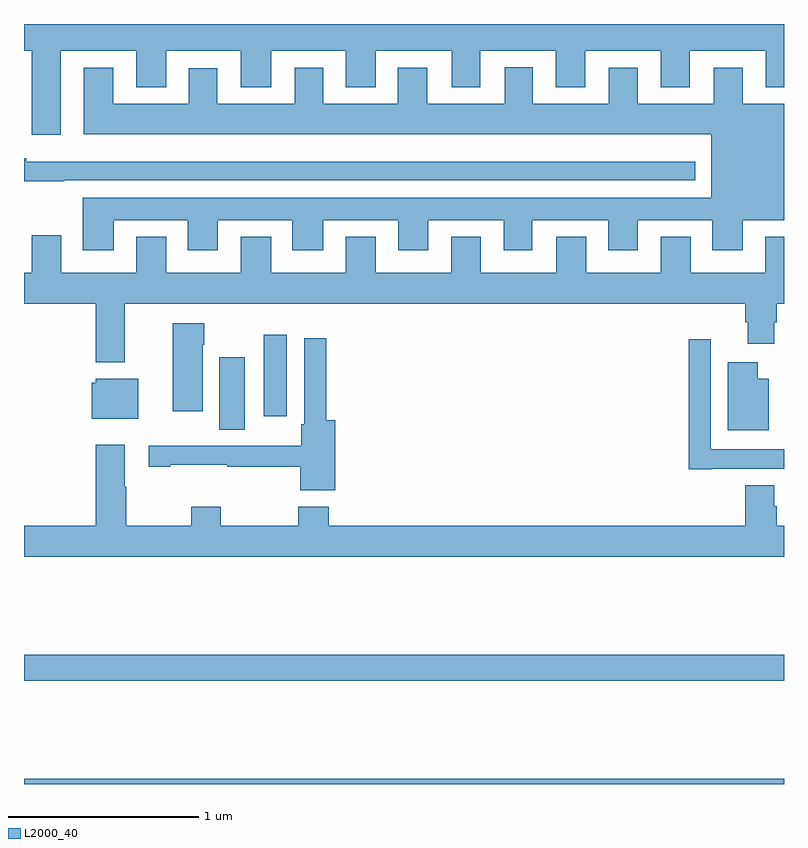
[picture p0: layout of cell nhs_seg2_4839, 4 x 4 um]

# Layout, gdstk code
import gdstk
lib = gdstk.Library(unit=1e-6, precision=1e-09)
def R(c, l, rs):  # rectangles x0, y0, x1, y1
    for r in rs: c.add(gdstk.rectangle(r[:2], r[2:], *l))
def P(c, l, *ps):  # polygons
    for p in ps: c.add(gdstk.Polygon(p, *l))
L2000_40 = (2000, 40)

nhs_seg2_4839 = lib.new_cell('nhs_seg2_4839')
R(nhs_seg2_4839, L2000_40, [(375,619.8,379,619.828), (375,620.344,379,620.48), (376.028,621.664,376.162,622.045), (376.262,621.735,376.384,622.165)])
P(nhs_seg2_4839, L2000_40, [(375.193,623.66),(375.59,623.66),(375.59,623.466),(375.748,623.466),(375.748,623.66),(376.142,623.66),(376.142,623.466),(376.3,623.466),(376.3,623.66),(376.694,623.66),(376.694,623.466),(376.852,623.466),(376.852,623.66),(377.252,623.66),(377.252,623.466),(377.401,623.466),(377.401,623.66),(377.798,623.66),(377.798,623.466),(377.953,623.466),(377.953,623.66),(378.35,623.66),(378.35,623.466),(378.505,623.466),(378.505,623.66),(378.905,623.66),(378.905,623.466),(379,623.466),(379,623.8),(375,623.8),(375,623.66),(375.041,623.66),(375.041,623.217),(375.193,623.217)],
  [(375.472,622.766),(375.863,622.766),(375.863,622.608),(376.021,622.608),(376.021,622.766),(376.412,622.766),(376.412,622.608),(376.576,622.608),(376.576,622.766),(376.97,622.766),(376.97,622.608),(377.128,622.608),(377.128,622.766),(377.525,622.766),(377.525,622.608),(377.674,622.608),(377.674,622.766),(378.074,622.766),(378.074,622.608),(378.229,622.608),(378.229,622.766),(378.623,622.766),(378.623,622.608),(378.784,622.608),(378.784,622.766),(379,622.766),(379,623.38),(378.784,623.38),(378.784,623.569),(378.629,623.569),(378.629,623.38),(378.229,623.38),(378.229,623.569),(378.077,623.569),(378.077,623.38),(377.677,623.38),(377.677,623.572),(377.531,623.572),(377.531,623.38),(377.122,623.38),(377.122,623.569),(376.967,623.569),(376.967,623.38),(376.576,623.38),(376.576,623.569),(376.424,623.569),(376.424,623.38),(376.018,623.38),(376.018,623.566),(375.866,623.566),(375.866,623.38),(375.469,623.38),(375.469,623.569),(375.314,623.569),(375.314,623.219),(378.617,623.219),(378.617,622.885),(375.308,622.885),(375.308,622.608),(375.472,622.608)],
  [(375.212,622.977),(378.532,622.977),(378.532,623.074),(375.013,623.074),(375.013,623.093),(375,623.093),(375,622.972),(375.212,622.972)],
  [(375.529,622.328),(378.797,622.328),(378.797,622.23),(378.809,622.23),(378.809,622.116),(378.949,622.116),(378.949,622.23),(378.962,622.23),(378.962,622.328),(379,622.328),(379,622.681),(378.902,622.681),(378.902,622.492),(378.508,622.492),(378.508,622.681),(378.35,622.681),(378.35,622.492),(377.959,622.492),(377.959,622.681),(377.801,622.681),(377.801,622.492),(377.404,622.492),(377.404,622.681),(377.249,622.681),(377.249,622.492),(376.852,622.492),(376.852,622.681),(376.694,622.681),(376.694,622.492),(376.3,622.492),(376.3,622.681),(376.142,622.681),(376.142,622.492),(375.748,622.492),(375.748,622.681),(375.59,622.681),(375.59,622.492),(375.196,622.492),(375.196,622.687),(375.041,622.687),(375.041,622.492),(375,622.492),(375,622.328),(375.377,622.328),(375.377,622.019),(375.529,622.019)],
  [(375.94,622.112),(375.948,622.112),(375.948,622.225),(375.782,622.225),(375.782,621.762),(375.94,621.762)],
  [(376.637,621.715),(376.592,621.715),(376.592,622.147),(376.476,622.147),(376.476,621.693),(376.459,621.693),(376.459,621.58),(376.266,621.58),(376.266,621.579),(375.932,621.579),(375.932,621.581),(375.657,621.581),(375.657,621.471),(375.769,621.471),(375.769,621.481),(376.07,621.481),(376.07,621.471),(376.454,621.471),(376.454,621.345),(376.637,621.345)],
  [(378.622,621.458),(379,621.458),(379,621.562),(378.615,621.562),(378.615,622.141),(378.499,622.141),(378.499,621.456),(378.622,621.456)],
  [(378.919,621.934),(378.862,621.934),(378.862,622.021),(378.704,622.021),(378.704,621.662),(378.919,621.662)],
  [(375.601,621.934),(375.378,621.934),(375.378,621.912),(375.356,621.912),(375.356,621.722),(375.601,621.722)],
  [(375.377,621.586),(375.377,621.16),(375,621.16),(375,620.996),(379,620.996),(379,621.16),(378.962,621.16),(378.962,621.261),(378.949,621.261),(378.949,621.373),(378.797,621.373),(378.797,621.16),(376.604,621.16),(376.604,621.259),(376.444,621.259),(376.444,621.16),(376.035,621.16),(376.035,621.259),(375.88,621.259),(375.88,621.16),(375.537,621.16),(375.537,621.365),(375.529,621.365),(375.529,621.586)])

lib.write_gds('nhs_seg2_4839.gds')
